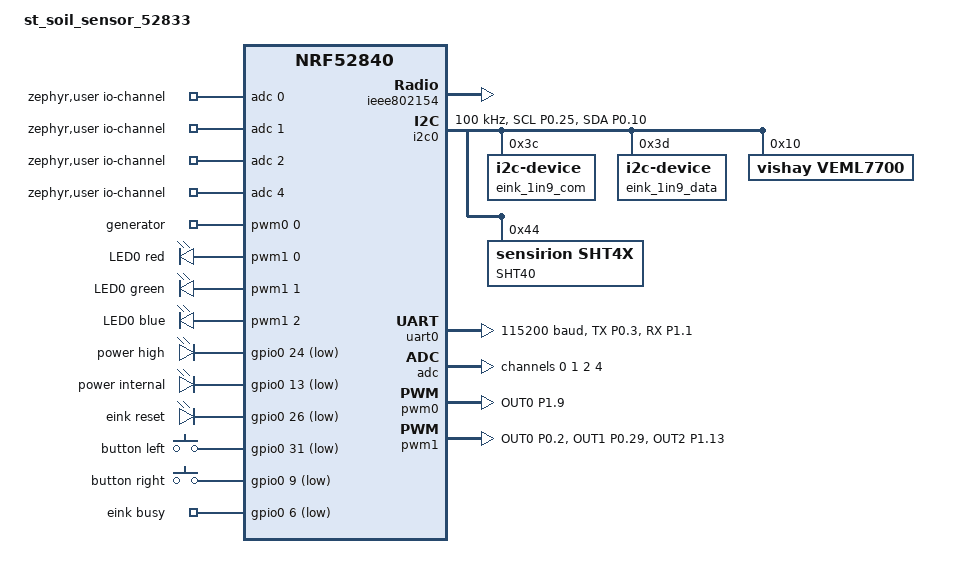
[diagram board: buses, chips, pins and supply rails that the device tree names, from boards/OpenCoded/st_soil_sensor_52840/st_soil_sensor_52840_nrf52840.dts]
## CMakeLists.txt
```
# SPDX-License-Identifier: Apache-2.0

cmake_minimum_required(VERSION 3.20.0)

find_package(Zephyr REQUIRED HINTS $ENV{ZEPHYR_BASE})
project(hello_world)

target_sources(app PRIVATE src/main.c 
                src/firmware/hardware.c 
                src/firmware/flash.c 
                src/validation.c
                src/display.c
                src/logic_control.c
            )

            
target_sources(app PRIVATE  src/conectivity/ble.c)   


target_sources(app PRIVATE  src/conectivity/zigbee_app.c)   
target_sources(app PRIVATE  src/conectivity/zb_zcl_soil_moisture_measurements.c)   
target_sources(app PRIVATE  src/conectivity/zigbee_app_utils_op.c)   

if(CONFIG_DISPLAY)
    add_subdirectory(driver/EPD)
else()
    target_sources(app PRIVATE  driver/EPD/DEV_Config.c)   
endif()


# Wyklucz oryginalny plik
set_source_files_properties(${ZEPHYR_BASE}/modules/lvgl/lvgl_display.c,
                            PROPERTIES HEADER_FILE_ONLY ON)

# add_subdirectory(lvgl)
# target_compile_definitions(main PRIVATE ZEPHYR_BASE)
```

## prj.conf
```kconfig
# CONFIG_DEBUG_OPTIMIZATIONS=n
# CONFIG_NO_OPTIMIZATIONS=n
# CONFIG_SIZE_OPTIMIZATIONS=n
# CONFIG_SPEED_OPTIMIZATIONS=n

# need for nrf52833 module without xtal oscilator 
CONFIG_CLOCK_CONTROL_NRF_K32SRC_RC=y

# enable gpio driver
CONFIG_GPIO=y
CONFIG_PWM=y
CONFIG_PWM_NRFX=y
#need for P0.09 pin
CONFIG_NFCT_PINS_AS_GPIOS=y

# enable i2c
CONFIG_SENSOR=y
CONFIG_SHT4X=y

CONFIG_I2C=y
CONFIG_SPI=y

# enable power down
CONFIG_PM=y
CONFIG_PM_DEVICE=y
#power less =n
CONFIG_LOG=y
CONFIG_SERIAL=y
CONFIG_CONSOLE=y

# enable uart driver
# enable console
CONFIG_UART_CONSOLE=y

# CONFIG_LOG=y
CONFIG_LOG_DEFAULT_LEVEL=3
CONFIG_LOG_MAX_LEVEL=3
CONFIG_LOG_BACKEND_SHOW_COLOR=y
CONFIG_LOG_MODE_MINIMAL=n

CONFIG_REBOOT=y

CONFIG_ADC=y

CONFIG_FLASH=y
CONFIG_FLASH_PAGE_LAYOUT=y
CONFIG_NVS=y
CONFIG_MPU_ALLOW_FLASH_WRITE=y
CONFIG_NVS_LOG_LEVEL_DBG=y

CONFIG_FPU=y
CONFIG_NEWLIB_LIBC=y # =y sin cos log fucntions

# enable bluetoth
CONFIG_BT=y
CONFIG_BT_DEVICE_NAME="OpenCoded_PG_V1"
CONFIG_BT_PERIPHERAL=y
CONFIG_BT_RX_STACK_SIZE=2048
CONFIG_MAIN_STACK_SIZE=4096

# enabling zigbee
CONFIG_ZIGBEE=y
CONFIG_ZIGBEE_APP_UTILS=n
CONFIG_ZIGBEE_PANID_CONFLICT_RESOLUTION=y
CONFIG_ZIGBEE_ROLE_END_DEVICE=y
CONFIG_ZIGBEE_CHANNEL_SELECTION_MODE_MULTI=y
CONFIG_IEEE802154_NRF5_FCS_IN_LENGTH=y
CONFIG_IEEE802154=y
CONFIG_IEEE802154_NRF5=y

CONFIG_ZIGBEE_LIBRARY_PRODUCTION=y

# This example requires more workqueue stack
CONFIG_SYSTEM_WORKQUEUE_STACK_SIZE=2048

# Enable nRF ECB driver
CONFIG_CRYPTO=y
CONFIG_CRYPTO_NRF_ECB=y
CONFIG_CRYPTO_INIT_PRIORITY=80

# # Networking
CONFIG_NET_IPV6=n
CONFIG_NET_IP_ADDR_CHECK=n
CONFIG_NET_UDP=n


# # dispaly build
# CONFIG_DISPLAY=y
# CONFIG_LVGL=y
# CONFIG_LV_Z_MEM_POOL_SIZE=32768
# CONFIG_LV_USE_LOG=y

# CONFIG_LV_CONF_MINIMAL=n
# CONFIG_LV_USE_LABEL=y
# CONFIG_LV_USE_LIST=y
# CONFIG_LV_USE_FLEX=y
# CONFIG_LV_USE_BTN=y
# CONFIG_LV_USE_ARC=y

# CONFIG_LV_FONT_MONTSERRAT_16=y
# CONFIG_LV_FONT_MONTSERRAT_28=y
# CONFIG_LV_FONT_UNSCII_8=y

# # Custom setup for EPD 2.13
# CONFIG_LV_Z_FULL_REFRESH=n
# CONFIG_LV_COLOR_DEPTH_8=y
# CONFIG_LV_Z_VDB_SIZE=100
# CONFIG_LV_Z_BITS_PER_PIXEL=8



# ram optymalization due to thread analyze 
# CONFIG_THREAD_ANALYZER=y
# CONFIG_THREAD_ANALYZER_USE_LOG=y`
```

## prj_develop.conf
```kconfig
# enable gpio driver
CONFIG_GPIO=y
CONFIG_PWM=y

# enable uart driver
CONFIG_SERIAL=y

# enable console
CONFIG_CONSOLE=y
CONFIG_UART_CONSOLE=y

CONFIG_LOG=y
CONFIG_LOG_DEFAULT_LEVEL=4
CONFIG_LOG_BACKEND_SHOW_COLOR=y
CONFIG_LOG_MODE_MINIMAL=y

CONFIG_PM=y
CONFIG_PM_DEVICE=y

CONFIG_REBOOT=y

CONFIG_ADC=y
# CONFIG_ADC_ASYNC=y

CONFIG_FLASH=y
CONFIG_FLASH_PAGE_LAYOUT=y

CONFIG_NVS=y
CONFIG_MPU_ALLOW_FLASH_WRITE=y
CONFIG_NVS_LOG_LEVEL_DBG=y

# enable bluetoth
CONFIG_BT=y
CONFIG_BT_DEVICE_NAME="ST_soil_moisture"
CONFIG_BT_PERIPHERAL=y


# Disable Bluetooth features not needed
CONFIG_BT_DEBUG_NONE=y
CONFIG_BT_ASSERT=n
CONFIG_BT_DATA_LEN_UPDATE=n
CONFIG_BT_PHY_UPDATE=n
CONFIG_BT_GATT_CACHING=n
CONFIG_BT_GATT_SERVICE_CHANGED=n
CONFIG_BT_GAP_PERIPHERAL_PREF_PARAMS=n
CONFIG_BT_SETTINGS_CCC_LAZY_LOADING=y
CONFIG_BT_HCI_VS_EXT=n

# Disable Bluetooth controller features not needed
CONFIG_BT_CTLR_PRIVACY=n
CONFIG_BT_CTLR_PHY_2M=n


# Reduce Bluetooth buffers
CONFIG_BT_BUF_EVT_DISCARDABLE_COUNT=1
CONFIG_BT_BUF_EVT_DISCARDABLE_SIZE=43
CONFIG_BT_BUF_EVT_RX_COUNT=2

CONFIG_BT_CONN_TX_MAX=2
CONFIG_BT_L2CAP_TX_BUF_COUNT=2
CONFIG_BT_CTLR_RX_BUFFERS=1
CONFIG_BT_BUF_ACL_TX_COUNT=3
CONFIG_BT_BUF_ACL_TX_SIZE=27



# ram optymalization due to thread analyze 
# CONFIG_THREAD_ANALYZER=y
# CONFIG_THREAD_ANALYZER_USE_LOG=y

CONFIG_BT_RX_STACK_SIZE=2048
CONFIG_BT_HCI_TX_STACK_SIZE_WITH_PROMPT=y
CONFIG_BT_HCI_TX_STACK_SIZE=1024
CONFIG_SYSTEM_WORKQUEUE_STACK_SIZE=512
CONFIG_MPSL_WORK_STACK_SIZE=640
CONFIG_MAIN_STACK_SIZE=1024
CONFIG_IDLE_STACK_SIZE=128
CONFIG_ISR_STACK_SIZE=2048
```

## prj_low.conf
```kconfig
# CONFIG_DEBUG_OPTIMIZATIONS=n
# CONFIG_NO_OPTIMIZATIONS=n
# CONFIG_SIZE_OPTIMIZATIONS=n
# CONFIG_SPEED_OPTIMIZATIONS=n

# need for nrf52833 module without xtal oscilator 
CONFIG_CLOCK_CONTROL_NRF_K32SRC_RC=y

# enable gpio driver
CONFIG_GPIO=y
CONFIG_PWM=y
CONFIG_PWM_NRFX=y
#need for P0.09 pin
CONFIG_NFCT_PINS_AS_GPIOS=y

# enable i2c
CONFIG_SENSOR=y
CONFIG_SHT4X=y

CONFIG_I2C=y
CONFIG_SPI=y

# enable power down
CONFIG_PM=y
CONFIG_PM_DEVICE=y
#power less =n
CONFIG_LOG=n
CONFIG_SERIAL=n
CONFIG_CONSOLE=n

# enable uart driver
# enable console
CONFIG_UART_CONSOLE=y

# CONFIG_LOG=y
CONFIG_LOG_DEFAULT_LEVEL=3
CONFIG_LOG_MAX_LEVEL=3
CONFIG_LOG_BACKEND_SHOW_COLOR=y
CONFIG_LOG_MODE_MINIMAL=n

CONFIG_REBOOT=y

CONFIG_ADC=y

CONFIG_FLASH=y
CONFIG_FLASH_PAGE_LAYOUT=y
CONFIG_NVS=y
CONFIG_MPU_ALLOW_FLASH_WRITE=y
CONFIG_NVS_LOG_LEVEL_DBG=y

CONFIG_FPU=y
CONFIG_NEWLIB_LIBC=y # =y sin cos log fucntions

# enable bluetoth
CONFIG_BT=y
CONFIG_BT_DEVICE_NAME="OpenCoded_PG_V1"
CONFIG_BT_PERIPHERAL=y
CONFIG_BT_RX_STACK_SIZE=2048
CONFIG_MAIN_STACK_SIZE=4096

# enabling zigbee
CONFIG_ZIGBEE=y
CONFIG_ZIGBEE_APP_UTILS=n
CONFIG_ZIGBEE_PANID_CONFLICT_RESOLUTION=y
CONFIG_ZIGBEE_ROLE_END_DEVICE=y
CONFIG_ZIGBEE_CHANNEL_SELECTION_MODE_MULTI=y
CONFIG_IEEE802154_NRF5_FCS_IN_LENGTH=y
CONFIG_IEEE802154=y
CONFIG_IEEE802154_NRF5=y

CONFIG_ZIGBEE_LIBRARY_PRODUCTION=y

# This example requires more workqueue stack
CONFIG_SYSTEM_WORKQUEUE_STACK_SIZE=2048

# Enable nRF ECB driver
CONFIG_CRYPTO=y
CONFIG_CRYPTO_NRF_ECB=y
CONFIG_CRYPTO_INIT_PRIORITY=80

# # Networking
CONFIG_NET_IPV6=n
CONFIG_NET_IP_ADDR_CHECK=n
CONFIG_NET_UDP=n


# # dispaly build
# CONFIG_DISPLAY=y
# CONFIG_LVGL=y
# CONFIG_LV_Z_MEM_POOL_SIZE=32768
# CONFIG_LV_USE_LOG=y

# CONFIG_LV_CONF_MINIMAL=n
# CONFIG_LV_USE_LABEL=y
# CONFIG_LV_USE_LIST=y
# CONFIG_LV_USE_FLEX=y
# CONFIG_LV_USE_BTN=y
# CONFIG_LV_USE_ARC=y

# CONFIG_LV_FONT_MONTSERRAT_16=y
# CONFIG_LV_FONT_MONTSERRAT_28=y
# CONFIG_LV_FONT_UNSCII_8=y

# # Custom setup for EPD 2.13
# CONFIG_LV_Z_FULL_REFRESH=n
# CONFIG_LV_COLOR_DEPTH_8=y
# CONFIG_LV_Z_VDB_SIZE=100
# CONFIG_LV_Z_BITS_PER_PIXEL=8



# ram optymalization due to thread analyze 
# CONFIG_THREAD_ANALYZER=y
# CONFIG_THREAD_ANALYZER_USE_LOG=y`
```

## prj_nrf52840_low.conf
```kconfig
# CONFIG_DEBUG_OPTIMIZATIONS=n
# CONFIG_NO_OPTIMIZATIONS=n
# CONFIG_SIZE_OPTIMIZATIONS=n
# CONFIG_SPEED_OPTIMIZATIONS=n

# need for nrf52833 module without xtal oscilator 
CONFIG_CLOCK_CONTROL_NRF_K32SRC_RC=y

# enable gpio driver
CONFIG_GPIO=y
CONFIG_PWM=y
CONFIG_PWM_NRFX=y
#need for P0.09 pin
CONFIG_NFCT_PINS_AS_GPIOS=y

# enable i2c
CONFIG_SENSOR=y
CONFIG_SHT4X=y

CONFIG_I2C=y
CONFIG_SPI=y

# enable power down
CONFIG_PM=y
CONFIG_PM_DEVICE=y
#power less =n
CONFIG_LOG=n
CONFIG_SERIAL=n
CONFIG_CONSOLE=n

# enable uart driver
# enable console
CONFIG_UART_CONSOLE=y

# CONFIG_LOG=y
CONFIG_LOG_DEFAULT_LEVEL=3
CONFIG_LOG_MAX_LEVEL=3
CONFIG_LOG_BACKEND_SHOW_COLOR=y
CONFIG_LOG_MODE_MINIMAL=n

CONFIG_REBOOT=y

CONFIG_ADC=y

CONFIG_FLASH=y
CONFIG_FLASH_PAGE_LAYOUT=y
CONFIG_NVS=y
CONFIG_MPU_ALLOW_FLASH_WRITE=y
CONFIG_NVS_LOG_LEVEL_DBG=y

CONFIG_FPU=y
CONFIG_NEWLIB_LIBC=y # =y sin cos log fucntions

# enable bluetoth
CONFIG_BT=y
CONFIG_BT_DEVICE_NAME="OpenCoded_PG_V1"
CONFIG_BT_PERIPHERAL=y
CONFIG_BT_RX_STACK_SIZE=2048
CONFIG_MAIN_STACK_SIZE=4096

# enabling zigbee
CONFIG_ZIGBEE=y
CONFIG_ZIGBEE_APP_UTILS=n
CONFIG_ZIGBEE_PANID_CONFLICT_RESOLUTION=y
CONFIG_ZIGBEE_ROLE_END_DEVICE=y
CONFIG_ZIGBEE_CHANNEL_SELECTION_MODE_MULTI=y
CONFIG_IEEE802154_NRF5_FCS_IN_LENGTH=y
CONFIG_IEEE802154=y
CONFIG_IEEE802154_NRF5=y

CONFIG_ZIGBEE_LIBRARY_PRODUCTION=y

# This example requires more workqueue stack
CONFIG_SYSTEM_WORKQUEUE_STACK_SIZE=2048

# Enable nRF ECB driver
CONFIG_CRYPTO=y
CONFIG_CRYPTO_NRF_ECB=y
CONFIG_CRYPTO_INIT_PRIORITY=80

# # Networking
CONFIG_NET_IPV6=n
CONFIG_NET_IP_ADDR_CHECK=n
CONFIG_NET_UDP=n


# dispaly build
CONFIG_DISPLAY=y
CONFIG_LVGL=y
CONFIG_LV_Z_MEM_POOL_SIZE=32768
CONFIG_LV_USE_LOG=y

CONFIG_LV_CONF_MINIMAL=n
CONFIG_LV_USE_LABEL=y
CONFIG_LV_USE_LIST=y
CONFIG_LV_USE_FLEX=y
CONFIG_LV_USE_BTN=y
CONFIG_LV_USE_ARC=y

CONFIG_LV_FONT_MONTSERRAT_16=y
CONFIG_LV_FONT_MONTSERRAT_28=y
CONFIG_LV_FONT_UNSCII_8=y

# Custom setup for EPD 2.13
CONFIG_LV_Z_FULL_REFRESH=n
CONFIG_LV_COLOR_DEPTH_8=y
CONFIG_LV_Z_VDB_SIZE=100
CONFIG_LV_Z_BITS_PER_PIXEL=8



# ram optymalization due to thread analyze 
# CONFIG_THREAD_ANALYZER=y
# CONFIG_THREAD_ANALYZER_USE_LOG=y`
```

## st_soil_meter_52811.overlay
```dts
// To get started, press Ctrl+Space (or Option+Esc) to bring up the completion menu and view the available nodes.

// You can also use the buttons in the sidebar to perform actions on nodes.
// Actions currently available include:

// * Enabling / disabling the node
// * Adding the bus to a bus
// * Removing the node
// * Connecting ADC channels

// For more help, browse the DeviceTree documentation at https://docs.zephyrproject.org/latest/guides/dts/index.html
// You can also visit the nRF DeviceTree extension documentation at https://nrfconnect.github.io/vscode-nrf-connect/devicetree/nrfdevicetree.html
/ {
    zephyr,user{
        signal-gpios = <&gpio0 3 GPIO_ACTIVE_LOW>;
        pwms = <&pwm0 0 1000 PWM_POLARITY_NORMAL>;
        pwm-names = "generator";
	};
};


&pwm0 {
    status = "okay";
    ch0-pin = < 10 >;
};
```

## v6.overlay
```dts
/ {
    buttons {
        compatible = "gpio-keys";
        
        button0: button_0 {
            gpios = <&gpio0 7 (GPIO_PULL_UP | GPIO_ACTIVE_LOW)>;
            label = "button left";
        };
        
        button1: button_1 {
            gpios = <&gpio0 31 (GPIO_PULL_UP | GPIO_ACTIVE_LOW)>;
            label = "button right";
        };
		eink_busy_in: eink_busy {
			status = "disabled";
			gpios = <&gpio0 6 GPIO_ACTIVE_LOW>;
			label = "eink busy";
	   };   
    };


	outputs {
		compatible = "gpio-leds";	 		 	 		        
		eink_rst_out: eink_rst {
			status = "disabled";
			gpios = <&gpio0 26 GPIO_ACTIVE_LOW>;
			label = "eink reset";
		};   	 				 	 		         		
	 };  

	 chosen {
		zephyr,display = &eink;
	};
};



&spi1 {
	status = "okay";
	cs-gpios = <&gpio1 0 GPIO_ACTIVE_LOW>;    	/* D10 */
    pinctrl-0 = < &spi1_default>;
    pinctrl-1 = < &spi1_sleep>;
	pinctrl-names = "default", "sleep";
	eink: eink@0 {
        compatible = "opencoded,epd";
		height = <250>;
		width = <122>;
		status = "okay";
		spi-max-frequency = <1000000>;
		reg = <0>;
		dc-gpios = <&gpio1 2 GPIO_ACTIVE_HIGH>;       
		reset-gpios =  <&gpio0 26 GPIO_ACTIVE_HIGH>;   
		busy-gpios =  <&gpio0 6 GPIO_ACTIVE_HIGH>;   
	};
};


&pinctrl {
    spi1_default: spi1_default {
		group1 {
			psels = <NRF_PSEL(SPIM_SCK, 1, 4)>,
				<NRF_PSEL_DISCONNECTED(SPIM_MISO)>,
				<NRF_PSEL(SPIM_MOSI, 1, 6)>;
		};
	};

	spi1_sleep: spi1_sleep {
		group1 {
			psels = <NRF_PSEL_DISCONNECTED(SPIM_SCK)>,
				<NRF_PSEL_DISCONNECTED(SPIM_MISO)>,
				<NRF_PSEL_DISCONNECTED(SPIM_MOSI)>;
			low-power-enable;
		};
	};

	i2c0_default: i2c0_default {
		group1 {
			psels = <NRF_PSEL(TWIM_SCL, 0, 8)>, <NRF_PSEL(TWIM_SDA, 0, 12)>;
		};
	};

	i2c0_sleep: i2c0_sleep {
		group1 {
			psels = <NRF_PSEL_DISCONNECTED(TWIM_SCL)>, <NRF_PSEL_DISCONNECTED(TWIM_SDA)>;
			low-power-enable;
		};
	};
};
```

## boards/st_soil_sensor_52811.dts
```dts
// Copyright (c) 2023 Nordic Semiconductor ASA
// SPDX-License-Identifier: Apache-2.0

/dts-v1/;
#include <nordic/nrf52811_qfaa.dtsi>

/ {
	model = "st_soil_meter_52811";
	compatible = "stefan-tobiasiewicz,st-soil-meter-52811";

	zephyr,user{
		io-channels = <&adc 0>, <&adc 1>;
		signal-gpios = <&gpio0 3 GPIO_ACTIVE_LOW>;
        pwms = <&pwm0 0 1000 PWM_POLARITY_NORMAL>;
        pwm-names = "generator";
	};

	chosen {
		zephyr,sram = &sram0;
		zephyr,flash = &flash0;
		zephyr,code-partition = &slot0_partition;
		zephyr,console = &uart0;
	};
};

&gpio0 {
	status = "okay";
};

&uart0 {
	status = "okay";
	current-speed = <115200>;
	tx-pin = < 23 >;
};

&adc {
	status = "okay";
	#address-cells = <1>;
	#size-cells = <0>;

	channel@0 {
		reg = <0>;
		zephyr,gain = "ADC_GAIN_1_6";
		zephyr,reference = "ADC_REF_INTERNAL";
		zephyr,acquisition-time = <ADC_ACQ_TIME_DEFAULT>;
		zephyr,input-positive = <NRF_SAADC_AIN3>; /* P0.05 */
		zephyr,resolution = <14>;
	};

	channel@1 {
		reg = <1>;
		zephyr,gain = "ADC_GAIN_1_6";
		zephyr,reference = "ADC_REF_INTERNAL";
		zephyr,acquisition-time = <ADC_ACQ_TIME_DEFAULT>;
		zephyr,input-positive = <NRF_SAADC_VDD>; /* P0.04 */
		zephyr,resolution = <14>;
	};
};

&pwm0 {
    status = "okay";
    ch0-pin = < 10 >;
};

&flash0 {
	partitions {
		compatible = "fixed-partitions";
		#address-cells = <1>;
		#size-cells = <1>;

		boot_partition: partition@0 {
			label = "mcuboot";
			reg = <0x0 0xc000>;
		};
		slot0_partition: partition@c000 {
			label = "image-0";
			reg = <0xc000 0xa000>;
		};
		slot1_partition: partition@16000 {
			label = "image-1";
			reg = <0x16000 0xa000>;
		};
		scratch_partition: partition@20000 {
			label = "image-scratch";
			reg = <0x20000 0xa000>;
		};
		storage_partition: partition@2a000 {
			label = "storage";
			reg = <0x2a000 0x6000>;
		};
	};
};
```

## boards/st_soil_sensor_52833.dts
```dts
// Copyright (c) 2023 Nordic Semiconductor ASA
// SPDX-License-Identifier: Apache-2.0

/dts-v1/;
#include <nordic/nrf52833_qiaa.dtsi>

/ {
	model = "st_soil_sensor_52833";
	compatible = "st-soil-sensor-52833";

	zephyr,user{
		io-channels = <&adc 3>, <&adc 0>;
		signal-gpios = <&gpio0 24 GPIO_ACTIVE_LOW>;
        pwms = <&pwm0 0 1000 PWM_POLARITY_NORMAL>;
        pwm-names = "generator";
	};

	chosen {
		zephyr,sram = &sram0;
		zephyr,flash = &flash0;
		zephyr,code-partition = &slot0_partition;
		zephyr,console = &uart0;
	};

	pwmleds {
		compatible = "pwm-leds";
		status = "okay";
	
		led_pwm_0: led_pwm0 {
				status = "okay";
				pwms = <&pwm1 0 PWM_USEC(256) PWM_POLARITY_NORMAL>;
				label = "LED0 red";
		};
	
		led_pwm_1: led_pwm1 {
				status = "okay";
				pwms = <&pwm1 1 PWM_USEC(256) PWM_POLARITY_NORMAL>;
				label = "LED0 green";
		};
	
		led_pwm_2: led_pwm2 {
				status = "okay";
				pwms = <&pwm1 2 PWM_USEC(256) PWM_POLARITY_NORMAL>;
				label = "LED0 blue";
		};
	};

	buttons {
		compatible = "gpio-keys";
		button0: button_0 {
			gpios = <&gpio0 31 (GPIO_PULL_UP | GPIO_ACTIVE_LOW)>;
			label = "Push button switch";
		};
	};

	/* These aliases are provided for compatibility with samples */
	aliases {
		pwm-led-r = &led_pwm_0;
		pwm-led-g = &led_pwm_1;
		pwm-led-b = &led_pwm_2;
		button = &button0;
	};
};

&gpio0 {
	status = "okay";
};

&gpio1 {
	status = "okay";
};


&uart0 {
	status = "okay";
	current-speed = <115200>;
	tx-pin = < 3 >;
};

&adc {
	status = "okay";
	#address-cells = <1>;
	#size-cells = <0>;

	channel@3 {
		reg = <3>;
		zephyr,gain = "ADC_GAIN_1_6";
		zephyr,reference = "ADC_REF_INTERNAL";
		// zephyr,acquisition-time = <ADC_ACQ_TIME(ADC_ACQ_TIME_MICROSECONDS, 20)>;
		zephyr,acquisition-time = < ADC_ACQ_TIME_DEFAULT >;
		zephyr,input-positive = <NRF_SAADC_AIN3>; /* P0.05 */
		zephyr,resolution = <12>;
	};

	channel@0 {
		reg = <0>;
		zephyr,gain = "ADC_GAIN_1_6";
		zephyr,reference = "ADC_REF_INTERNAL";
		// zephyr,acquisition-time = <ADC_ACQ_TIME(ADC_ACQ_TIME_MICROSECONDS, 20)>;
		zephyr,acquisition-time = < ADC_ACQ_TIME_DEFAULT >;
		zephyr,input-positive = <NRF_SAADC_VDD>; 
		zephyr,resolution = <12>;
	};
};


// SOMETHINKG NOT WORK WITH THAT
// &pinctrl {
// 	pwm1_default: pwm1_default_alt {
// 		group1 {
// 				psels = <NRF_PSEL(PWM_OUT0, 0, 2)>,
// 						<NRF_PSEL(PWM_OUT1, 0, 29)>,
// 						<NRF_PSEL(PWM_OUT2, 1, 13)>;
// 				nordic,invert;
// 		};
// 	};
// };

&pwm0 {
    status = "okay";
    ch0-pin = < 41 >;
};

&pwm1 {
	status = "okay";
	ch0-pin = < 2 >;
	ch1-pin = < 29 >;
	ch2-pin = < 37 >;
	// pinctrl-0 = <&pwm1_default>;
	// pinctrl-names = "default";
};



&flash0 {
	partitions {
		compatible = "fixed-partitions";
		#address-cells = <1>;
		#size-cells = <1>;

		boot_partition: partition@0 {
			label = "mcuboot";
			reg = <0x0 0xc000>;
		};
		slot0_partition: partition@c000 {
			label = "image-0";
			reg = <0xc000 0x32000>;
		};
		slot1_partition: partition@3e000 {
			label = "image-1";
			reg = <0x3e000 0x32000>;
		};
		scratch_partition: partition@70000 {
			label = "image-scratch";
			reg = <0x70000 0xa000>;
		};
		storage_partition: partition@7a000 {
			label = "storage";
			reg = <0x7a000 0x6000>;
		};
	};
};
```

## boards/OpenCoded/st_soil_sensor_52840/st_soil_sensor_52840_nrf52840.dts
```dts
/dts-v1/;
#include <nordic/nrf52840_qiaa.dtsi>


/ {
	model = "st_soil_sensor_52833";
	compatible = "st-soil-sensor-52833";

	zephyr,user{
		io-channels = <&adc 0>, <&adc 1>, <&adc 2>, <&adc 4>;
        pwms = <&pwm0 0 1000 PWM_POLARITY_NORMAL>;
        pwm-names = "generator";
	};

	chosen {
		zephyr,sram = &sram0;
		zephyr,flash = &flash0;
		zephyr,code-partition = &slot0_partition;
		zephyr,console = &uart0;
	};

	pwmleds {
		compatible = "pwm-leds";
		status = "okay";
	
		led_pwm_0: led_pwm0 {
				status = "okay";
				pwms = <&pwm1 0 PWM_USEC(256) PWM_POLARITY_NORMAL>;
				label = "LED0 red";
		};
	
		led_pwm_1: led_pwm1 {
				status = "okay";
				pwms = <&pwm1 1 PWM_USEC(256) PWM_POLARITY_NORMAL>;
				label = "LED0 green";
		};
	
		led_pwm_2: led_pwm2 {
				status = "okay";
				pwms = <&pwm1 2 PWM_USEC(256) PWM_POLARITY_NORMAL>;
				label = "LED0 blue";
		};
	};

	outputs {
		compatible = "gpio-leds";
		 power_high_out: power_high {
			 gpios = <&gpio0 24 GPIO_ACTIVE_LOW>;
			 label = "power high";
		};   	 		        
		power_internal_out: power_internal {
			 gpios = <&gpio0 13 GPIO_ACTIVE_LOW>;
			 label = "power internal";
		};   	 		 	 		        
		eink_rst_out: eink_rst {
			 gpios = <&gpio0 26 GPIO_ACTIVE_LOW>;
			 label = "eink reset";
		};   	 				 	 		         		
	 };  

	buttons {
		compatible = "gpio-keys";
		button0: button_0 {
			gpios = <&gpio0 31 (GPIO_PULL_UP | GPIO_ACTIVE_LOW)>;
			label = "button left";
		};
		button1: button_1 {
			gpios = <&gpio0 9 (GPIO_PULL_UP | GPIO_ACTIVE_LOW)>;
			label = "button right";
		};
		eink_busy_in: eink_busy {
			gpios = <&gpio0 6 GPIO_ACTIVE_LOW>;
			label = "eink busy";
	   };   	
	};

	/* These aliases are provided for compatibility with samples */
	aliases {
		pwm-led-r = &led_pwm_2;
		pwm-led-g = &led_pwm_0;
		pwm-led-b = &led_pwm_1;
		button-left = &button0;
		button-right = &button1;
	};
};

&gpiote {
    status = "okay";
};

&gpio0 {
	status = "okay";
};

&gpio1 {
	status = "okay";
};

&ieee802154 {
	status = "okay";
};


&i2c0 {
	status = "okay";
	pinctrl-0 = <&i2c0_default>;
	pinctrl-1 = <&i2c0_sleep>;
	pinctrl-names = "default", "sleep";
	clock-frequency = <I2C_BITRATE_STANDARD>;
	eink_1in9_com_i2c: eink@3C{
		status = "okay";
        compatible = "i2c-device";
        reg = < 0x3C >;
        label = "eink_1in9_com";
    };
	eink_1in9_data_i2c: eink@3D{
		status = "okay";
        compatible = "i2c-device";
        reg = < 0x3D >;
        label = "eink_1in9_data";
    };
	veml7700: veml7700@10 {
		status = "okay";
        compatible = "vishay,veml7700";
        reg = <0x10>;
        label = "VEML7700";
		zephyr,deferred-init;
    };
    sht40: sht40@44 {
		status = "okay";
        compatible = "sensirion,sht4x";
        reg = <0x44>;
        label = "SHT40";
		repeatability = < 2 >;
		zephyr,deferred-init;
    };
};


&uart0 {
	status = "okay";
	// tx-pin = < 3 >;
	current-speed = <115200>;
	pinctrl-0 = < &uart0_default >;
	pinctrl-1 = <&uart0_sleep>;
	pinctrl-names = "default", "sleep";
};

&adc {
	status = "okay";
	#address-cells = <1>;
	#size-cells = <0>;

	channel@0 {
		reg = <0>;
		zephyr,gain = "ADC_GAIN_1_6";
		zephyr,reference = "ADC_REF_INTERNAL";
		// zephyr,acquisition-time = <ADC_ACQ_TIME(ADC_ACQ_TIME_MICROSECONDS, 20)>;
		zephyr,acquisition-time = < ADC_ACQ_TIME_DEFAULT >;
		zephyr,input-positive = <NRF_SAADC_AIN2>; /* P0.05 */
		zephyr,resolution = <12>;
	};

	channel@1 {
		reg = <1>;
		zephyr,gain = "ADC_GAIN_1_6";
		zephyr,reference = "ADC_REF_INTERNAL";
		// zephyr,acquisition-time = <ADC_ACQ_TIME(ADC_ACQ_TIME_MICROSECONDS, 20)>;
		zephyr,acquisition-time = < ADC_ACQ_TIME_DEFAULT >;
		zephyr,input-positive = <NRF_SAADC_AIN3>; /* P0.05 */
		zephyr,resolution = <12>;
	};

	channel@2 {
		reg = <2>;
		zephyr,gain = "ADC_GAIN_1_6";
		zephyr,reference = "ADC_REF_INTERNAL";
		// zephyr,acquisition-time = <ADC_ACQ_TIME(ADC_ACQ_TIME_MICROSECONDS, 20)>;
		zephyr,acquisition-time = < ADC_ACQ_TIME_DEFAULT >;
		zephyr,input-positive = <NRF_SAADC_AIN6>; /* P0.05 */
		zephyr,resolution = <12>;
	};

	channel@4 {
		reg = <4>;
		zephyr,gain = "ADC_GAIN_1_6";
		zephyr,reference = "ADC_REF_INTERNAL";
		// zephyr,acquisition-time = <ADC_ACQ_TIME(ADC_ACQ_TIME_MICROSECONDS, 20)>;
		zephyr,acquisition-time = < ADC_ACQ_TIME_DEFAULT >;
		zephyr,input-positive = <NRF_SAADC_VDD>; 
		zephyr,resolution = <12>;
	};
};


// SOMETHINKG NOT WORK WITH THAT
&pinctrl {
	pwm1_default: pwm1_default_alt {
		group1 {
				psels = <NRF_PSEL(PWM_OUT0, 0, 2)>,
						<NRF_PSEL(PWM_OUT1, 0, 29)>,
						<NRF_PSEL(PWM_OUT2, 1, 13)>;
				nordic,invert;
		};
	};
	pwm1_sleep: pwm1_sleep {
		group1 {
			psels = <NRF_PSEL(PWM_OUT0, 0, 2)>,
			<NRF_PSEL(PWM_OUT1, 0, 29)>,
			<NRF_PSEL(PWM_OUT2, 1, 13)>;
			nordic,invert;	
			low-power-enable;
		};
	};
	pwm0_default: pwm0_default_alt {
		group0 {
			psels = <NRF_PSEL(PWM_OUT0, 1, 9)>;
		};
	};
	pwm0_sleep: pwm0_sleep {
		group1 {
			psels = <NRF_PSEL(PWM_OUT0, 1, 9)>;
			nordic,invert;
			low-power-enable;
		};
	};
	uart0_default: uart0_default {
        group1 {
            psels = <NRF_PSEL(UART_TX, 0, 3)>;
        };
        group2 {
            psels = <NRF_PSEL(UART_RX, 1, 1)>;
            bias-pull-up;
        };
    };
	uart0_sleep: uart0_sleep {
		group1 {
            psels = <NRF_PSEL(UART_TX, 0, 3)>;
    		low-power-enable;
		};
        group2 {
            psels = <NRF_PSEL(UART_RX, 1, 1)>;
            bias-pull-up;
			low-power-enable;
	    };
	};

	i2c0_default: i2c0_default {
		group1 {
			psels = <NRF_PSEL(TWIM_SCL, 0, 25)>, <NRF_PSEL(TWIM_SDA, 0, 10)>;
		};
	};

	i2c0_sleep: i2c0_sleep {
		group1 {
			psels = <NRF_PSEL(TWIM_SCL, 0, 25)>, <NRF_PSEL(TWIM_SDA, 0, 10)>;
			low-power-enable;
		};
	};
};

&pwm0 {
    status = "okay";
    // ch0-pin = < 41 >;
	pinctrl-0 = < &pwm0_default >;	
	pinctrl-1 = < &pwm0_sleep >;
	pinctrl-names = "default", "sleep";
};

&pwm1 {
	status = "okay";
	// ch0-pin = < 2 >;
	// ch1-pin = < 29 >;
	// ch2-pin = < 37 >;
	pinctrl-0 = <&pwm1_default>;
	pinctrl-1 = <&pwm1_sleep>;
	pinctrl-names = "default", "sleep";

	// pinctrl-names = "default";
};


&flash0 {
	partitions {
		compatible = "fixed-partitions";
		#address-cells = <1>;
		#size-cells = <1>;

		boot_partition: partition@0 {
			label = "mcuboot";
			reg = <0x00000000 DT_SIZE_K(48)>;
		};

		slot0_partition: partition@c000 {
			label = "image-0";
			reg = <0x0000c000 DT_SIZE_K(472)>;
		};

		slot1_partition: partition@82000 {
			label = "image-1";
			reg = <0x00082000 DT_SIZE_K(472)>;
		};

		storage_partition: partition@f8000 {
			label = "storage";
			reg = <0x000f8000 DT_SIZE_K(32)>;
		};
	};
};
```

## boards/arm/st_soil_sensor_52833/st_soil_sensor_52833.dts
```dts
// Copyright (c) 2023 Nordic Semiconductor ASA
// SPDX-License-Identifier: Apache-2.0

/dts-v1/;
#include <nordic/nrf52833_qiaa.dtsi>

/ {
	model = "st_soil_sensor_52833";
	compatible = "st-soil-sensor-52833";

	zephyr,user{
		io-channels = <&adc 0>, <&adc 1>, <&adc 2>, <&adc 4>;
        pwms = <&pwm0 0 1000 PWM_POLARITY_NORMAL>;
        pwm-names = "generator";
	};

	chosen {
		zephyr,sram = &sram0;
		zephyr,flash = &flash0;
		zephyr,code-partition = &slot0_partition;
		zephyr,console = &uart0;
	};

	pwmleds {
		compatible = "pwm-leds";
		status = "okay";
	
		led_pwm_0: led_pwm0 {
				status = "okay";
				pwms = <&pwm1 0 PWM_USEC(256) PWM_POLARITY_NORMAL>;
				label = "LED0 red";
		};
	
		led_pwm_1: led_pwm1 {
				status = "okay";
				pwms = <&pwm1 1 PWM_USEC(256) PWM_POLARITY_NORMAL>;
				label = "LED0 green";
		};
	
		led_pwm_2: led_pwm2 {
				status = "okay";
				pwms = <&pwm1 2 PWM_USEC(256) PWM_POLARITY_NORMAL>;
				label = "LED0 blue";
		};
	};

	outputs {
		compatible = "gpio-leds";
		 power_high_out: power_high {
			 gpios = <&gpio0 24 GPIO_ACTIVE_LOW>;
			 label = "power high";
		};   	 		        
		power_internal_out: power_internal {
			 gpios = <&gpio0 13 GPIO_ACTIVE_LOW>;
			 label = "power internal";
		};   	 		 	 		        
		eink_rst_out: eink_rst {
			 gpios = <&gpio0 26 GPIO_ACTIVE_LOW>;
			 label = "eink reset";
		};   	 				 	 		         		
	 };  

	buttons {
		compatible = "gpio-keys";
		button0: button_0 {
			gpios = <&gpio0 31 (GPIO_PULL_UP | GPIO_ACTIVE_LOW)>;
			label = "button left";
		};
		button1: button_1 {
			gpios = <&gpio0 9 (GPIO_PULL_UP | GPIO_ACTIVE_LOW)>;
			label = "button right";
		};
		eink_busy_in: eink_busy {
			gpios = <&gpio0 6 GPIO_ACTIVE_LOW>;
			label = "eink busy";
	   };   	
	};

	/* These aliases are provided for compatibility with samples */
	aliases {
		pwm-led-r = &led_pwm_2;
		pwm-led-g = &led_pwm_0;
		pwm-led-b = &led_pwm_1;
		button-left = &button0;
		button-right = &button1;
	};
};

&gpiote {
    status = "okay";
};

&gpio0 {
	status = "okay";
};

&gpio1 {
	status = "okay";
};

&ieee802154 {
	status = "okay";
};


&i2c0 {
	status = "okay";
	pinctrl-0 = <&i2c0_default>;
	pinctrl-1 = <&i2c0_sleep>;
	pinctrl-names = "default", "sleep";
	clock-frequency = <I2C_BITRATE_STANDARD>;
	eink_1in9_com_i2c: eink@3C{
		status = "okay";
        compatible = "i2c-device";
        reg = < 0x3C >;
        label = "eink_1in9_com";
    };
	eink_1in9_data_i2c: eink@3D{
		status = "okay";
        compatible = "i2c-device";
        reg = < 0x3D >;
        label = "eink_1in9_data";
    };
	veml7700: veml7700@10 {
		status = "okay";
        compatible = "vishay,veml7700";
        reg = <0x10>;
        label = "VEML7700";
		zephyr,deferred-init;
    };
    sht40: sht40@44 {
		status = "okay";
        compatible = "sensirion,sht4x";
        reg = <0x44>;
        label = "SHT40";
		repeatability = < 2 >;
		zephyr,deferred-init;
    };
};


&uart0 {
	status = "okay";
	// tx-pin = < 3 >;
	current-speed = <115200>;
	pinctrl-0 = < &uart0_default >;
	pinctrl-1 = <&uart0_sleep>;
	pinctrl-names = "default", "sleep";
};

&adc {
	status = "okay";
	#address-cells = <1>;
	#size-cells = <0>;

	channel@0 {
		reg = <0>;
		zephyr,gain = "ADC_GAIN_1_6";
		zephyr,reference = "ADC_REF_INTERNAL";
		// zephyr,acquisition-time = <ADC_ACQ_TIME(ADC_ACQ_TIME_MICROSECONDS, 20)>;
		zephyr,acquisition-time = < ADC_ACQ_TIME_DEFAULT >;
		zephyr,input-positive = <NRF_SAADC_AIN2>; /* P0.05 */
		zephyr,resolution = <12>;
	};

	channel@1 {
		reg = <1>;
		zephyr,gain = "ADC_GAIN_1_6";
		zephyr,reference = "ADC_REF_INTERNAL";
		// zephyr,acquisition-time = <ADC_ACQ_TIME(ADC_ACQ_TIME_MICROSECONDS, 20)>;
		zephyr,acquisition-time = < ADC_ACQ_TIME_DEFAULT >;
		zephyr,input-positive = <NRF_SAADC_AIN3>; /* P0.05 */
		zephyr,resolution = <12>;
	};

	channel@2 {
		reg = <2>;
		zephyr,gain = "ADC_GAIN_1_6";
		zephyr,reference = "ADC_REF_INTERNAL";
		// zephyr,acquisition-time = <ADC_ACQ_TIME(ADC_ACQ_TIME_MICROSECONDS, 20)>;
		zephyr,acquisition-time = < ADC_ACQ_TIME_DEFAULT >;
		zephyr,input-positive = <NRF_SAADC_AIN6>; /* P0.05 */
		zephyr,resolution = <12>;
	};

	channel@4 {
		reg = <4>;
		zephyr,gain = "ADC_GAIN_1_6";
		zephyr,reference = "ADC_REF_INTERNAL";
		// zephyr,acquisition-time = <ADC_ACQ_TIME(ADC_ACQ_TIME_MICROSECONDS, 20)>;
		zephyr,acquisition-time = < ADC_ACQ_TIME_DEFAULT >;
		zephyr,input-positive = <NRF_SAADC_VDD>; 
		zephyr,resolution = <12>;
	};
};


// SOMETHINKG NOT WORK WITH THAT
&pinctrl {
	pwm1_default: pwm1_default_alt {
		group1 {
				psels = <NRF_PSEL(PWM_OUT0, 0, 2)>,
						<NRF_PSEL(PWM_OUT1, 0, 29)>,
						<NRF_PSEL(PWM_OUT2, 1, 5)>;
				nordic,invert;
		};
	};
	pwm1_sleep: pwm1_sleep {
		group1 {
			psels = <NRF_PSEL(PWM_OUT0, 0, 2)>,
			<NRF_PSEL(PWM_OUT1, 0, 29)>,
			<NRF_PSEL(PWM_OUT2, 1, 5)>;
			nordic,invert;	
			low-power-enable;
		};
	};
	pwm0_default: pwm0_default_alt {
		group0 {
			psels = <NRF_PSEL(PWM_OUT0, 1, 9)>;
		};
	};
	pwm0_sleep: pwm0_sleep {
		group1 {
			psels = <NRF_PSEL(PWM_OUT0, 1, 9)>;
			nordic,invert;
			low-power-enable;
		};
	};
	uart0_default: uart0_default {
        group1 {
            psels = <NRF_PSEL(UART_TX, 0, 3)>;
        };
        group2 {
            psels = <NRF_PSEL(UART_RX, 1, 1)>;
            bias-pull-up;
        };
    };
	uart0_sleep: uart0_sleep {
		group1 {
            psels = <NRF_PSEL(UART_TX, 0, 3)>;
    		low-power-enable;
		};
        group2 {
            psels = <NRF_PSEL(UART_RX, 1, 1)>;
            bias-pull-up;
			low-power-enable;
	    };
	};

	i2c0_default: i2c0_default {
		group1 {
			psels = <NRF_PSEL(TWIM_SCL, 0, 25)>, <NRF_PSEL(TWIM_SDA, 0, 10)>;
		};
	};

	i2c0_sleep: i2c0_sleep {
		group1 {
			psels = <NRF_PSEL(TWIM_SCL, 0, 25)>, <NRF_PSEL(TWIM_SDA, 0, 10)>;
			low-power-enable;
		};
	};
};

&pwm0 {
    status = "okay";
    // ch0-pin = < 41 >;
	pinctrl-0 = < &pwm0_default >;	
	pinctrl-1 = < &pwm0_sleep >;
	pinctrl-names = "default", "sleep";
};

&pwm1 {
	status = "okay";
	// ch0-pin = < 2 >;
	// ch1-pin = < 29 >;
	// ch2-pin = < 37 >;
	pinctrl-0 = <&pwm1_default>;
	pinctrl-1 = <&pwm1_sleep>;
	pinctrl-names = "default", "sleep";

	// pinctrl-names = "default";
};



&flash0 {
	partitions {
		compatible = "fixed-partitions";
		#address-cells = <1>;
		#size-cells = <1>;

		boot_partition: partition@0 {
			label = "mcuboot";
			reg = <0x0 0xc000>;
		};
		slot0_partition: partition@c000 {
			label = "image-0";
			reg = <0xc000 0x32000>;
		};
		slot1_partition: partition@3e000 {
			label = "image-1";
			reg = <0x3e000 0x32000>;
		};
		scratch_partition: partition@70000 {
			label = "image-scratch";
			reg = <0x70000 0xa000>;
		};
		storage_partition: partition@7a000 {
			label = "storage";
			reg = <0x7a000 0x6000>;
		};
	};
};
```

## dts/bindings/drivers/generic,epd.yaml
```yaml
description: |
    E-Paper display controller

    The origin is in the upper left corner when the FPC line is facing down.
    Source = width = x, Gate = height = y.

include: [spi-device.yaml, display-controller.yaml]

compatible: "generic,epd"

properties:
    vcc-gpios:
      type: phandle-array
      description: |
        VCC pin.

        The VCC pin of E-Paper is active low.

    busy-gpios:
      type: phandle-array
      required: true
      description: |
        BUSY pin.

        The BUSY pin of E-Paper is active high.

    reset-gpios:
      type: phandle-array
      required: true
      description: |
        RESET pin.

        The RESET pin of E-Paper is active low.

    dc-gpios:
      type: phandle-array
      required: true
      description: |
        DC pin.

        The DC pin of E-Paper is active low (transmission command byte).

on-bus: spi
```

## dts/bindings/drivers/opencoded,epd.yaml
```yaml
description: |
    E-Paper display controller

    The origin is in the upper left corner when the FPC line is facing down.
    Source = width = x, Gate = height = y.

include: [spi-device.yaml, display-controller.yaml]

compatible: "opencoded,epd"

properties:
    vcc-gpios:
      type: phandle-array
      description: |
        VCC pin.

        The VCC pin of E-Paper is active low.

    busy-gpios:
      type: phandle-array
      required: true
      description: |
        BUSY pin.

        The BUSY pin of E-Paper is active high.

    reset-gpios:
      type: phandle-array
      required: true
      description: |
        RESET pin.

        The RESET pin of E-Paper is active low.

    dc-gpios:
      type: phandle-array
      required: true
      description: |
        DC pin.

        The DC pin of E-Paper is active low (transmission command byte).

on-bus: spi
```

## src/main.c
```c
/*
 * Copyright (c) 2012-2014 Wind River Systems, Inc.
 *
 * SPDX-License-Identifier: Apache-2.0
 */

#include <zephyr/kernel.h>
#include <zephyr/device.h>
#include <zephyr/devicetree.h>
#include <zephyr/drivers/adc.h>
#include <zephyr/sys/reboot.h>
#include <zephyr/logging/log.h>
#include <zephyr/drivers/sensor.h>

#include "firmware/hardware.h"
#include "firmware/flash.h"
#include "conectivity/ble.h"
#include "conectivity/zigbee_app.h"

#include "display.h"
#include "../driver/EPD/DEV_Config.h"
#include "logic_control.h"

#include <stdlib.h>


LOG_MODULE_REGISTER(main, LOG_LEVEL_DBG);


soil_moisture_calib_data_t soil_moisture_calib_data = {
    .dry_value = 1495,
    .wet_value = 2702,
};

deivce_config_t device_config = {
    .ble_enable = false,
    .display_enable = false,
    .periodic_thread_suspend = false,
    .periodic_thread_fast = false,
    .zibee_enable = true,
};


/**
 * utils
 */
void log_current_thread_info() {
    k_tid_t thread_id = k_current_get();

    LOG_INF("###########################################");
    LOG_INF("Logging current thread information:");
    LOG_INF("Thread ID: %p", thread_id);
    LOG_INF("Thread Name: %s", k_thread_name_get(thread_id));
    LOG_INF("###########################################");
}

void error() {
	LOG_ERR("Application occur error rebooting.");
	k_sleep(K_MSEC(3000));
	sys_reboot(0);
}

measurments_t make_short_measurements(void);
measurments_t make_full_measurements(void);

void app_left_button_press();
void app_right_button_press();
static struct hardware_callback_t hardware_callbacks = {
	.app_left_button_press = app_left_button_press,
	.app_right_button_press = app_right_button_press
};


bool ble_connected = false;
void app_ble_connected(void) {
    ble_connected = true;
}
void app_ble_disconnected(void) {
    ble_connected = false;
}

void app_zigbee_rejoin_started_callback(void) {
    hardware_set_led_color(255, 0, 0);
}
void app_zigbee_rejoin_stopped_callback(void) {
    hardware_set_led_color(0,0,0);
}

application_api_t applciation_api =
{
    .app_connected = app_ble_connected,
    .app_disconnected = app_ble_disconnected,
};

zigbee_app_rejoin_callbacks_t zigbee_app_rejoin_callbacks = {
    .zigbee_app_rejoin_started_callback = app_zigbee_rejoin_started_callback, 
    .zigbee_app_rejoin_stopped_callback = app_zigbee_rejoin_stopped_callback,
};

#define BUTTONS_STACK_SIZE 1024
#define BUTTONS_THREAD_PRIORITY 2

void buttons_thread(void *, void *, void *);

K_THREAD_STACK_DEFINE(buttons_stack_area, BUTTONS_STACK_SIZE);
struct k_thread buttons_thread_data;
k_tid_t buttons_tid;

#define PERIODIC_STACK_SIZE 1024 * 4
#define PERIODIC_THREAD_PRIORITY 2

void periodic_thread(void *, void *, void *);

K_THREAD_STACK_DEFINE(periodic_thread_area, PERIODIC_STACK_SIZE);
struct k_thread periodic_thread_data;
k_tid_t periodic_tid;

k_tid_t main_tid;


enum {
    BUTTON_EVENT_BLE_CONNECTION     = 0x00,
    BUTTON_EVENT_MAKE_MEASUREMENTS  = 0x01,
    BUTTON_EVENT_MAKE_MEASUREMENTS_AND_UPDATE_DISPLAY,
    BUTTON_EVENT_MAKE_MEASUREMENTS_AND_BLE,
    BUTTON_EVENT_ZIGBEE_FACTORY_RESET,
};
typedef uint8_t main_thread_event_t;

typedef struct {
    main_thread_event_t type;
} button_msgq_item_t;
K_MSGQ_DEFINE(button_msgq, sizeof(button_msgq_item_t), 1, 1);


int main(void)
{	
    LOG_INF("###############################################");
    LOG_INF("##                                           ##");
    LOG_INF("##         Soil Meter Application Start      ##");
    LOG_INF("##                                           ##");
    LOG_INF("###############################################");

    hardware_init_status_t init_status = hardware_init(&hardware_callbacks);
	if (init_status.error != ERROR_OK) {
		error();
	}



    device_config.hardware_init_status = init_status;

	if (flash_init() != ERROR_OK) {
		error();
	}

	if (ble_init(&applciation_api) != ERROR_OK) {
		error();
	}

    if(device_config.display_enable) {
        hardware_power_up();
        hardware_power_internal_up();

        display_init();
        display_exit_low_power();


        hardware_power_down();
        hardware_power_internal_down();   
    } else {
        /**
         * needed for low power to disable SPI when display is not available
         */
        DEV_Module_Init();
        DEV_Module_Exit();
    }
    


    hardware_power_down();
    hardware_power_internal_down();  

    if (device_config.zibee_enable) {
        zigbee_app_init(zigbee_app_rejoin_callbacks);
        zigbee_app_start();
    }


    buttons_tid = k_thread_create(&buttons_thread_data, buttons_stack_area,
                                 K_THREAD_STACK_SIZEOF(buttons_stack_area),
                                 buttons_thread,
                                 NULL, NULL, NULL,
                                 BUTTONS_THREAD_PRIORITY, 0, K_NO_WAIT);
    k_thread_name_set(buttons_tid, "Buttons_thread");
    
    periodic_tid = k_thread_create(&periodic_thread_data, periodic_thread_area,
                                K_THREAD_STACK_SIZEOF(periodic_thread_area),
                                periodic_thread,
                                NULL, NULL, NULL,
                                BUTTONS_THREAD_PRIORITY, 0, K_NO_WAIT);
    k_thread_name_set(periodic_tid, "Periodic_thread");


    main_tid = k_current_get();
    k_thread_name_set(main_tid, "Main_thread");

    while(1) {
        k_msleep(10);
        
        button_msgq_item_t data;
        if (k_msgq_get(&button_msgq, &data, K_NO_WAIT) == 0) {
            if (data.type == BUTTON_EVENT_BLE_CONNECTION) {
                if(device_config.ble_enable) {
                    hardware_power_up();

                    hardware_set_led_color(0,0,255);
                    ble_advertise_connection_start();
                    // led blue pulsing
                    k_msleep(10000);
                    //connection end
                    ble_advertise_connection_stop();
                    hardware_led_off();

                    hardware_power_down();
                }
            }
            if (data.type == BUTTON_EVENT_MAKE_MEASUREMENTS) {
                hardware_power_up();
                measurments_t measuremet = make_full_measurements();
                hardware_power_down();
            }
            if (data.type == BUTTON_EVENT_ZIGBEE_FACTORY_RESET) {
                if(device_config.zibee_enable) {
                    zigbee_app_factory_reset();
                }
            }
            if (data.type == BUTTON_EVENT_MAKE_MEASUREMENTS_AND_BLE) {
                hardware_power_up();
                measurments_t measuremet = make_full_measurements();
                if(device_config.ble_enable) {
                    if (ble_connected == false) {
                        hardware_set_led_color(0,0,255);

                        ble_advertise_not_connection_data_start(measuremet);
                        k_msleep(10000);
                        ble_advertise_not_connection_data_stop();   

                        hardware_led_off();
                    } else {
                        LOG_INF("measuremnt data not advertised, ble state connected");
                    }
                }

                if(device_config.zibee_enable) {
                    zigbee_app_update(measuremet);
                }

                hardware_power_down();
            }
            if (data.type == BUTTON_EVENT_MAKE_MEASUREMENTS_AND_UPDATE_DISPLAY) {        
                hardware_power_up();
                measurments_t measuremet = make_full_measurements();

                if(device_config.display_enable) {
                    hardware_power_internal_up();
                    display_values(measuremet);
                    hardware_power_internal_down();
                }

                hardware_power_down();

                if(device_config.zibee_enable) {
                    zigbee_app_update(measuremet);
                }
            }
        }

        k_thread_suspend(main_tid);
    }
}

/**
 * Buttons thread handle all button related user input
 */
static volatile int left_button_click_count = 0;
static volatile int right_button_click_count = 0;

void app_left_button_press() {
    LOG_INF("app left button press");

    left_button_click_count++;
    k_thread_resume(buttons_tid);
}
void app_right_button_press() {
    LOG_INF("app right button press");

    right_button_click_count++;
    k_thread_resume(buttons_tid);
}

#define LONG_CLICK_THRESHOLD_MS 1000

void send_signal_to_main_thread(main_thread_event_t event) {

    //put to queue  
    button_msgq_item_t data = {
        .type = event,
    };
    while (k_msgq_put(&button_msgq, &data, K_NO_WAIT) != 0) {
        /* message queue is full: purge old data & try again */
        k_msgq_purge(&button_msgq);
    }

    k_thread_resume(main_tid); 
}

void left_click(void) {
    LOG_INF("Left button single click detected.");

    send_signal_to_main_thread(BUTTON_EVENT_MAKE_MEASUREMENTS_AND_UPDATE_DISPLAY);
}

void left_long_click(void) {
    LOG_INF("Left button long click detected.");
    
    send_signal_to_main_thread(BUTTON_EVENT_BLE_CONNECTION); 
}

void right_click(void) {
    LOG_INF("Right button single click detected.");

    send_signal_to_main_thread(BUTTON_EVENT_MAKE_MEASUREMENTS_AND_BLE); 
}

void right_long_click(void) {
    LOG_INF("Right button long click detected.");

    send_signal_to_main_thread(BUTTON_EVENT_ZIGBEE_FACTORY_RESET); 
}

void buttons_thread(void *, void *, void *) {
    log_current_thread_info();

    while (1)
    {
        LOG_INF("hello from button thread loop.");


        // left/right: one click, double click, long click, 
        // both click, both long press

        k_usleep(1000);

        if (check_left_button_pressed()) {
            k_usleep(400);  

            bool long_click = false;
            uint64_t press_start_time = k_uptime_get();  

            while (check_left_button_pressed()) {
                if ((k_uptime_get() - press_start_time) >= LONG_CLICK_THRESHOLD_MS) {
                    long_click = true; 
                    break;
                }
                k_usleep(5000); 
            }

            if (long_click) {
                left_long_click();
            } else {
                left_click();
            }
        }

        if (check_right_button_pressed()) {
            k_usleep(400);  

            bool long_click = false;
            uint64_t press_start_time = k_uptime_get();  

            while (check_right_button_pressed()) {
                if ((k_uptime_get() - press_start_time) >= LONG_CLICK_THRESHOLD_MS) {
                    long_click = true; 
                    break;
                }
                k_usleep(5000); 
            }

            if (long_click) {
                right_long_click();
            } else {
                right_click();
            }
        }

        k_msleep(200);
        k_thread_suspend(buttons_tid);
    }
}

/**
 * Periodic thread handle:
 * soil measurements
 * checking if data is ready to send (difference or sending timeout)
 * displaying data
 * sending data
 * checking battery
 */
void periodic_thread(void *, void *, void *) {
    log_current_thread_info();

    while (1)
    {
        if(device_config.periodic_thread_suspend) {
            LOG_INF("Periodic thread suspend.");
            k_msleep(20000);
            continue;
        }

        LOG_INF("Periodic measurments and data sharing.");

        hardware_power_up();
        measurments_t results = make_full_measurements();

        bool notify = check_parameters_changes(results.soil_moisture_percent, results.temperature_ground, results.battery_percent, k_uptime_get());

        if(notify) {
            if(device_config.display_enable) {
                if (true) {
                    hardware_power_internal_up();

                    display_values(results);
                    k_msleep(100);
                    
                    hardware_power_internal_down();
                }
            }

            if(device_config.ble_enable) {
                if (ble_connected == false) {
                    hardware_set_led_color(0,0,255);

                    ble_advertise_not_connection_data_start(results);
                    k_msleep(5000);
                    ble_advertise_not_connection_data_stop();   

                    hardware_led_off();
                } else {
                    LOG_INF("measuremnt data not advertised, ble state connected");
                }
            }

            if(device_config.zibee_enable) {
                zigbee_app_update(results);
            }
        }

        hardware_power_down();


        int sleep_time = 0;
        if (device_config.periodic_thread_fast){
            sleep_time = 2000;
        } else {
            sleep_time = get_next_wakeup_time_ms();
        }
        k_msleep(sleep_time);
    }
}


/**
 * Function measure soil and temperature data from sensor
 * @note Function need to voltage high (3v3) disabled 
 * @return readings are not valid to present. Result can be use only for fast check and prediction of fast changing parameters
 */
measurments_t make_short_measurements(void) {
    measurments_t result = {0};
    result.temperature_ground_mv_raw = hardware_read_adc_mv_tempNTC();
    LOG_INF("Temperature raw (mV): %d", result.temperature_ground_mv_raw);

    hardware_genrator_on();
    k_msleep(100);
    
    result.soil_moisture_mv_raw = hardware_read_adc_mv_moisture();
    hardware_genrator_off();
    LOG_INF("Soil moisture raw (mV): %d", result.soil_moisture_mv_raw);

    return result;
}

/**
 * Fucntion measure all readings form sensors
 * @note Function need voltae high (3v3) pull up
 */
measurments_t make_full_measurements(void) {
    measurments_t result;
 
    k_msleep(500);

    result.battery_mv_raw = hardware_read_adc_mv_battery();
    result.battery_percent = vbat_calculate_battery(result.battery_mv_raw);
    LOG_INF("Battery raw (mV): %d, Calculated battery: %.2f", result.battery_mv_raw, result.battery_percent);
    k_msleep(20);

    int vcc_mv = hardware_read_adc_mv_vcc();
    LOG_INF("VCC raw (mV): %d", vcc_mv);
    k_msleep(20);

    result.temperature_ground_mv_raw = hardware_read_adc_mv_tempNTC();
    result.temperature_ground = ntc_calcualte_temperatrue(result.temperature_ground_mv_raw, vcc_mv);
    LOG_INF("Temperature raw (mV): %d, Calculated temperature: %.2f", result.temperature_ground_mv_raw, result.temperature_ground);
    k_msleep(20);

    hardware_genrator_on();
    k_msleep(100);
    
    result.soil_moisture_mv_raw = hardware_read_adc_mv_moisture();
    hardware_genrator_off();
    LOG_INF("Soil moisture raw (mV): %d", result.soil_moisture_mv_raw);
    
    result.soil_moisture_percent = capacitive_sensor_calculate_moisture(result.soil_moisture_mv_raw, soil_moisture_calib_data);
    LOG_INF("Calculated soil moisture: %.2f", result.soil_moisture_percent);
    k_msleep(20);


    if (device_config.hardware_init_status.veml7700_avaliavle) {
        hardware_power_internal_up();
        k_msleep(300);      

        const struct device * veml7700_dev = get_inited_veml7700();
        struct sensor_value lux_value;

        if (sensor_sample_fetch(veml7700_dev) < 0) {
            LOG_ERR("Error feching data from VEML7700");
        }

        if (sensor_channel_get(veml7700_dev, SENSOR_CHAN_LIGHT, &lux_value) < 0) {
            LOG_ERR("Error getting data from VEML7700");
        }

        result.lux = sensor_value_to_float(&lux_value);
        LOG_INF("Light sense: %d.%06d lux", lux_value.val1, lux_value.val2);
    }

    k_msleep(20);
    if (device_config.hardware_init_status.sht40_avaliavle) {
        hardware_power_internal_up();

        const struct device * sht40_dev = get_inited_sht40();
        struct sensor_value temp_value, humidity_value;


        if (sensor_sample_fetch(sht40_dev) < 0) {
            LOG_ERR("Error feching data from SHT40");
        }

        if (sensor_channel_get(sht40_dev, SENSOR_CHAN_AMBIENT_TEMP, &temp_value) < 0) {
            LOG_ERR("Error getting data from SHT40");
        }

        if (sensor_channel_get(sht40_dev, SENSOR_CHAN_HUMIDITY, &humidity_value) < 0) {
            LOG_ERR("Error getting data from SHT40");
        }

        result.air_temperature = sensor_value_to_float(&temp_value);
        result.air_humidity = sensor_value_to_float(&humidity_value);

        LOG_INF("Temperature: %d.%06d °C", temp_value.val1, temp_value.val2);
        LOG_INF("Humidity: %d.%06d %%", humidity_value.val1, humidity_value.val2);
    }

    hardware_power_internal_down();

    return result;
}
```

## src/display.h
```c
#ifndef DISPLAY_HH
#define DISPLAY_HH


#include <zephyr/kernel.h>
#include "firmware/hardware.h"
#include "validation.h"
#include <zephyr/logging/log.h>
#include "main.h"



void display_init();
void display_exit_low_power();

void display_values(measurments_t measuremet);
void display_clean();



#endif
```

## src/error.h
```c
#ifndef ERROR_HH_S
#define ERROR_HH_S


#define ERROR_OK 0

#define ERROR_INVALID_CALIBRATION -1
#define ERROR_OUT_OF_RANGE_INTERVAL -2
#define ERROR_OUT_OF_RANGE_SOIL_MOISTURE -3
#define ERROR_OUT_OF_RANGE_BATTERY_LEVEL -4

#define ERROR_FLASH_INIT -10

#define ERROR_NULL_POINTER -249

#endif
```

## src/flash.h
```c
#ifndef FLASH_HH
#define FLASH_HH

#include <zephyr/kernel.h>

typedef struct {
    uint16_t soil_adc_min;
    uint16_t soil_adc_max;
} soil_calibration_t;

// Inicjalizuje flash
int flash_init();

void flash_write_calibration_data(soil_calibration_t data);
int flash_read_calibration_data(soil_calibration_t* data);

void flash_write_sleep_time(uint16_t data);
int flash_read_sleep_time(uint16_t* data);

#endif
```
